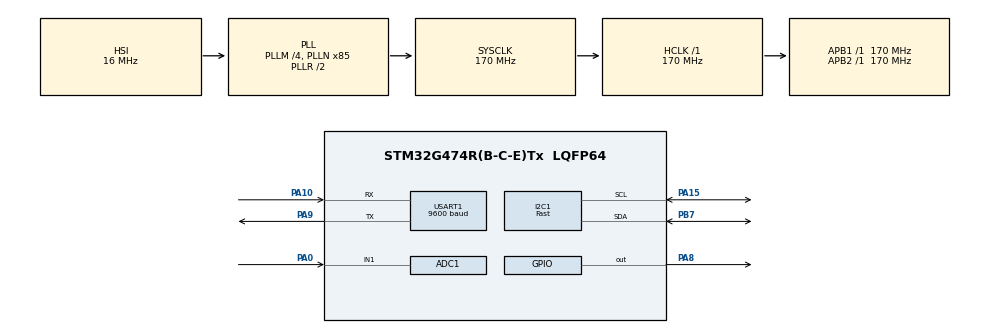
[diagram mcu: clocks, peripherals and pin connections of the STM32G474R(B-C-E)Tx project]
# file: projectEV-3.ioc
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ADC1.Channel-1\#ChannelRegularConversion=ADC_CHANNEL_1
ADC1.ExternalTrigConv=ADC_EXTERNALTRIG_T2_TRGO
ADC1.NbrOfConversionFlag=1
ADC1.OffsetNumber-1\#ChannelRegularConversion=ADC_OFFSET_NONE
ADC1.Overrun=ADC_OVR_DATA_OVERWRITTEN
ADC1.Rank-1\#ChannelRegularConversion=1
ADC1.SamplingTime-1\#ChannelRegularConversion=ADC_SAMPLETIME_24CYCLES_5
ADC1.master=1
Dma.Request0=USART1_RX
Dma.USART1_RX.0.Direction=DMA_PERIPH_TO_MEMORY
Dma.USART1_RX.0.EventEnable=DISABLE
Dma.USART1_RX.0.Instance=DMA1_Channel1
Dma.USART1_RX.0.MemDataAlignment=DMA_MDATAALIGN_BYTE
Dma.USART1_RX.0.MemInc=DMA_MINC_ENABLE
Dma.USART1_RX.0.Mode=DMA_CIRCULAR
Dma.USART1_RX.0.PeriphDataAlignment=DMA_PDATAALIGN_BYTE
Dma.USART1_RX.0.PeriphInc=DMA_PINC_DISABLE
Dma.USART1_RX.0.Polarity=HAL_DMAMUX_REQ_GEN_RISING
Dma.USART1_RX.0.Priority=DMA_PRIORITY_LOW
Dma.USART1_RX.0.RequestNumber=1
Dma.USART1_RX.0.SignalID=NONE
Dma.USART1_RX.0.SyncEnable=DISABLE
Dma.USART1_RX.0.SyncPolarity=HAL_DMAMUX_SYNC_NO_EVENT
Dma.USART1_RX.0.SyncRequestNumber=1
Dma.USART1_RX.0.SyncSignalID=NONE
FREERTOS.BinarySemaphores01=uartDataKey,Dynamic,NULL;adcDataKey,Dynamic,NULL
FREERTOS.Tasks01=defaultTask,8,128,StartDefaultTask,Default,NULL,Dynamic,NULL,NULL;DisplayUpdate,24,128,StartDisplayUpdate,Default,NULL,Dynamic,NULL,NULL;ReadCommPorts,23,128,StartReadCommPorts,Default,NULL,Dynamic,NULL,NULL
FREERTOS.configUSE_NEWLIB_REENTRANT=0
I2C1.I2C_Speed_Mode=I2C_Fast
I2C1.Speed=400
I2C1.Timing=0x10802D9B
Mcu.Family=STM32G4
Mcu.Name=STM32G474R(B-C-E)Tx
Mcu.Package=LQFP64
NVIC.ADC1_2_IRQn=true\:5\:0\:false\:false\:true\:true\:true\:true
NVIC.DMA1_Channel1_IRQn=true\:5\:0\:false\:false\:true\:true\:false\:true
NVIC.PriorityGroup=NVIC_PRIORITYGROUP_4
NVIC.TIM6_DAC_IRQn=true\:15\:0\:false\:false\:true\:false\:false\:true
NVIC.TimeBase=TIM6_DAC_IRQn
NVIC.TimeBaseIP=TIM6
PA0.Mode=IN1-Single-Ended
PA0.Signal=ADC1_IN1
PA10.Mode=Asynchronous
PA10.Signal=USART1_RX
PA13.Mode=Serial_Wire
PA13.Signal=SYS_JTMS-SWDIO
PA14.Mode=Serial_Wire
PA14.Signal=SYS_JTCK-SWCLK
PA15.Mode=I2C
PA15.Signal=I2C1_SCL
PA8.Signal=GPIO_Output
PA9.Mode=Asynchronous
PA9.Signal=USART1_TX
PB7.Mode=I2C
PB7.Signal=I2C1_SDA
ProjectManager.HeapSize=0x200
ProjectManager.StackSize=0x400
ProjectManager.TargetToolchain=STM32CubeIDE
RCC.ADC12Freq_Value=170000000
RCC.ADC345Freq_Value=170000000
RCC.AHBFreq_Value=170000000
RCC.APB1Freq_Value=170000000
RCC.APB1TimFreq_Value=170000000
RCC.APB2Freq_Value=170000000
RCC.APB2TimFreq_Value=170000000
RCC.CortexFreq_Value=170000000
RCC.EXTERNAL_CLOCK_VALUE=12288000
RCC.HCLKFreq_Value=170000000
RCC.HSE_VALUE=8000000
RCC.HSI48_VALUE=48000000
RCC.HSI_VALUE=16000000
RCC.LSE_VALUE=32768
RCC.PLLM=RCC_PLLM_DIV4
RCC.PLLN=85
RCC.SYSCLKFreq_VALUE=170000000
RCC.SYSCLKSource=RCC_SYSCLKSOURCE_PLLCLK
RCC.USBFreq_Value=170000000
RCC.VCOOutputFreq_Value=340000000
TIM2.AutoReloadPreload=TIM_AUTORELOAD_PRELOAD_ENABLE
TIM2.PeriodNoDither=170-1
TIM2.Prescaler=10000
TIM2.TIM_MasterOutputTrigger=TIM_TRGO_UPDATE
USART1.BaudRate=9600
USART1.FIFOMode=FIFOMODE_ENABLE
USART1.VirtualMode-Asynchronous=VM_ASYNC
VP_FREERTOS_VS_CMSIS_V2.Mode=CMSIS_V2
VP_SYS_VS_DBSignals.Mode=DisableDeadBatterySignals
VP_SYS_VS_tim6.Mode=TIM6
VP_TIM2_VS_ClockSourceINT.Mode=Internal
board=custom

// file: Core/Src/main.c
/* USER CODE BEGIN Header */
/**
  ******************************************************************************
  * @file           : main.c
  * @brief          : Main program body
  ******************************************************************************
  * @attention
  *
  * Copyright (c) 2022 STMicroelectronics.
  * All rights reserved.
  *
  * This software is licensed under terms that can be found in the LICENSE file
  * in the root directory of this software component.
  * If no LICENSE file comes with this software, it is provided AS-IS.
  *
  ******************************************************************************
  */
/* USER CODE END Header */
#include "main.h"
#include "cmsis_os.h"
#include "adc.h"
#include "dma.h"
#include "i2c.h"
#include "tim.h"
#include "usart.h"
#include "gpio.h"

/* USER CODE BEGIN PV */

extern osSemaphoreId_t uartDataKeyHandle;
extern osSemaphoreId_t adcDataKeyHandle;
/* USER CODE END PV */

void SystemClock_Config(void);
void MX_FREERTOS_Init(void);

int main(void)
{

  /* MCU Configuration--------------------------------------------------------*/

  /* Reset of all peripherals, Initializes the Flash interface and the Systick. */
  HAL_Init();

  /* Configure the system clock */
  SystemClock_Config();

  /* Initialize all configured peripherals */
  MX_GPIO_Init();
  MX_I2C1_Init();
  MX_TIM2_Init();
  MX_DMA_Init();
  MX_USART1_UART_Init();
  MX_ADC1_Init();
  /* USER CODE BEGIN 2 */

  HAL_UART_Receive_DMA(&huart1, w_uartBuff, sizeof(w_uartBuff));
  HAL_ADC_Start_IT(&hadc1);
  HAL_TIM_Base_Start(&htim2);

  /* USER CODE END 2 */

  /* Init scheduler */
  osKernelInitialize();  /* Call init function for freertos objects (in freertos.c) */
  MX_FREERTOS_Init();
  /* Start scheduler */
  osKernelStart();

  /* We should never get here as control is now taken by the scheduler */
  /* Infinite loop */
  while (1)
  {

  }
}

void SystemClock_Config(void)
{
  RCC_OscInitTypeDef RCC_OscInitStruct = {0};
  RCC_ClkInitTypeDef RCC_ClkInitStruct = {0};

  /** Configure the main internal regulator output voltage
  */
  HAL_PWREx_ControlVoltageScaling(PWR_REGULATOR_VOLTAGE_SCALE1_BOOST);
  /** Initializes the RCC Oscillators according to the specified parameters
  * in the RCC_OscInitTypeDef structure.
  */
  RCC_OscInitStruct.OscillatorType = RCC_OSCILLATORTYPE_HSI;
  RCC_OscInitStruct.HSIState = RCC_HSI_ON;
  RCC_OscInitStruct.HSICalibrationValue = RCC_HSICALIBRATION_DEFAULT;
  RCC_OscInitStruct.PLL.PLLState = RCC_PLL_ON;
  RCC_OscInitStruct.PLL.PLLSource = RCC_PLLSOURCE_HSI;
  RCC_OscInitStruct.PLL.PLLM = RCC_PLLM_DIV4;
  RCC_OscInitStruct.PLL.PLLN = 85;
  RCC_OscInitStruct.PLL.PLLP = RCC_PLLP_DIV2;
  RCC_OscInitStruct.PLL.PLLQ = RCC_PLLQ_DIV2;
  RCC_OscInitStruct.PLL.PLLR = RCC_PLLR_DIV2;
  if (HAL_RCC_OscConfig(&RCC_OscInitStruct) != HAL_OK)
  {
    Error_Handler();
  }
  /** Initializes the CPU, AHB and APB buses clocks
  */
  RCC_ClkInitStruct.ClockType = RCC_CLOCKTYPE_HCLK|RCC_CLOCKTYPE_SYSCLK
                              |RCC_CLOCKTYPE_PCLK1|RCC_CLOCKTYPE_PCLK2;
  RCC_ClkInitStruct.SYSCLKSource = RCC_SYSCLKSOURCE_PLLCLK;
  RCC_ClkInitStruct.AHBCLKDivider = RCC_SYSCLK_DIV1;
  RCC_ClkInitStruct.APB1CLKDivider = RCC_HCLK_DIV1;
  RCC_ClkInitStruct.APB2CLKDivider = RCC_HCLK_DIV1;

  if (HAL_RCC_ClockConfig(&RCC_ClkInitStruct, FLASH_LATENCY_4) != HAL_OK)
  {
    Error_Handler();
  }
}

/* USER CODE BEGIN 4 */
void HAL_UART_RxCpltCallback(UART_HandleTypeDef *huart) {

}

void HAL_ADC_ConvCpltCallback(ADC_HandleTypeDef *hadc) {
	osSemaphoreAcquire(adcDataKeyHandle, osWaitForever);
	w_adcVal = HAL_ADC_GetValue(&hadc1);
	osSemaphoreRelease(adcDataKeyHandle);
}
/* USER CODE END 4 */

void HAL_TIM_PeriodElapsedCallback(TIM_HandleTypeDef *htim)
{
  if (htim->Instance == TIM6) {
    HAL_IncTick();
  }
}

void Error_Handler(void)
{
  __disable_irq();
  while (1)
  {
  }
}

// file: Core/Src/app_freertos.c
/* USER CODE BEGIN Header */
/**
 ******************************************************************************
 * File Name          : app_freertos.c
 * Description        : Code for freertos applications
 ******************************************************************************
 * @attention
 *
 * Copyright (c) 2022 STMicroelectronics.
 * All rights reserved.
 *
 * This software is licensed under terms that can be found in the LICENSE file
 * in the root directory of this software component.
 * If no LICENSE file comes with this software, it is provided AS-IS.
 *
 ******************************************************************************
 */
/* USER CODE END Header */

#include "FreeRTOS.h"
#include "task.h"
#include "main.h"
#include "cmsis_os.h"

/* USER CODE BEGIN Includes */
#include "w_code.h"
/* USER CODE END Includes */

/* Definitions for defaultTask */
osThreadId_t defaultTaskHandle;
const osThreadAttr_t defaultTask_attributes = {
  .name = "defaultTask",
  .priority = (osPriority_t) osPriorityLow,
  .stack_size = 128 * 4
};
/* Definitions for DisplayUpdate */
osThreadId_t DisplayUpdateHandle;
const osThreadAttr_t DisplayUpdate_attributes = {
  .name = "DisplayUpdate",
  .priority = (osPriority_t) osPriorityNormal,
  .stack_size = 128 * 4
};
/* Definitions for ReadCommPorts */
osThreadId_t ReadCommPortsHandle;
const osThreadAttr_t ReadCommPorts_attributes = {
  .name = "ReadCommPorts",
  .priority = (osPriority_t) osPriorityBelowNormal7,
  .stack_size = 128 * 4
};
/* Definitions for uartDataKey */
osSemaphoreId_t uartDataKeyHandle;
const osSemaphoreAttr_t uartDataKey_attributes = {
  .name = "uartDataKey"
};
/* Definitions for adcDataKey */
osSemaphoreId_t adcDataKeyHandle;
const osSemaphoreAttr_t adcDataKey_attributes = {
  .name = "adcDataKey"
};

void StartDefaultTask(void *argument);
void StartDisplayUpdate(void *argument);
void StartReadCommPorts(void *argument);

void MX_FREERTOS_Init(void); /* (MISRA C 2004 rule 8.1) */

void MX_FREERTOS_Init(void) {

  /* Create the semaphores(s) */
  /* creation of uartDataKey */
  uartDataKeyHandle = osSemaphoreNew(1, 1, &uartDataKey_attributes);

  /* creation of adcDataKey */
  adcDataKeyHandle = osSemaphoreNew(1, 1, &adcDataKey_attributes);

  /* Create the thread(s) */
  /* creation of defaultTask */
  defaultTaskHandle = osThreadNew(StartDefaultTask, NULL, &defaultTask_attributes);

  /* creation of DisplayUpdate */
  DisplayUpdateHandle = osThreadNew(StartDisplayUpdate, NULL, &DisplayUpdate_attributes);

  /* creation of ReadCommPorts */
  ReadCommPortsHandle = osThreadNew(StartReadCommPorts, NULL, &ReadCommPorts_attributes);

}

void StartDefaultTask(void *argument)
{
  /* USER CODE BEGIN StartDefaultTask */
	w_Initialize();
	strcpy(w_uartBuff, "<<DATA>>");
	/* Infinite loop */
	for (;;) {
		osDelay(1);
	}
  /* USER CODE END StartDefaultTask */
}

void StartDisplayUpdate(void *argument)
{
  /* USER CODE BEGIN StartDisplayUpdate */
	/* Infinite loop */
	for (;;) {

		osSemaphoreAcquire(uartDataKeyHandle, osWaitForever);
		osSemaphoreAcquire(adcDataKeyHandle, osWaitForever);

		w_oledCopyBuffer(w_oledParseUartData(w_uartBuff), 0, w_FONT1);

		sprintf(w_adcString, "ADC: %u", w_adcVal);
		w_oledCopyBuffer(w_adcString, 1, w_FONT2);
		//memset(w_adcString, 0, 10);
		w_oledPageWrite();

		osSemaphoreRelease(uartDataKeyHandle);
		osSemaphoreRelease(adcDataKeyHandle);
		osDelay(10);
	}
  /* USER CODE END StartDisplayUpdate */
}

void StartReadCommPorts(void *argument)
{
  /* USER CODE BEGIN StartReadCommPorts */

	/* Infinite loop */
	for (;;) {
		osDelay(100);
	}
  /* USER CODE END StartReadCommPorts */
}
